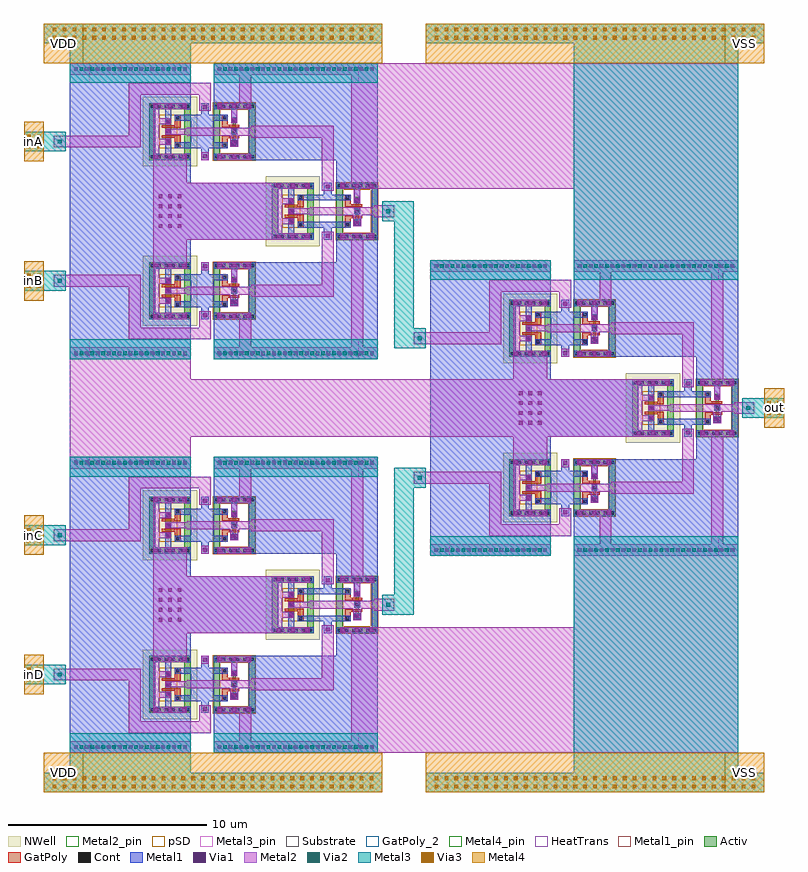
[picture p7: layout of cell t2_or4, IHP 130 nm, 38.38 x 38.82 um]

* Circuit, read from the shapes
.subckt t2_or4 VDD VSS inA inB inC inD out
XM1 n1 inD t2_or2_2/t2_nand2_0/inB VSS sg13_lv_nmos w=0.15u l=0.13u
XM2 VSS inD n1 VSS sg13_lv_nmos w=0.15u l=0.13u
XM3 n2 inC t2_or2_2/t2_nand2_0/inA VSS sg13_lv_nmos w=0.15u l=0.13u
XM4 VSS inC n2 VSS sg13_lv_nmos w=0.15u l=0.13u
XM5 n3 inB t2_or2_0/t2_nand2_0/inB VSS sg13_lv_nmos w=0.15u l=0.13u
XM6 VSS inB n3 VSS sg13_lv_nmos w=0.15u l=0.13u
XM7 n4 inA t2_or2_0/t2_nand2_0/inA VSS sg13_lv_nmos w=0.15u l=0.13u
XM8 VSS inA n4 VSS sg13_lv_nmos w=0.15u l=0.13u
XM9 n5 t2_or2_2/t2_nand2_0/inB t2_or2_1/inB VSS sg13_lv_nmos w=0.15u l=0.13u
XM10 VSS t2_or2_2/t2_nand2_0/inA n5 VSS sg13_lv_nmos w=0.15u l=0.13u
XM11 n6 t2_or2_0/t2_nand2_0/inB t2_or2_1/inA VSS sg13_lv_nmos w=0.15u l=0.13u
XM12 VSS t2_or2_0/t2_nand2_0/inA n6 VSS sg13_lv_nmos w=0.15u l=0.13u
XM13 n7 t2_or2_1/inB t2_or2_1/t2_nand2_0/inB VSS sg13_lv_nmos w=0.15u l=0.13u
XM14 VSS t2_or2_1/inB n7 VSS sg13_lv_nmos w=0.15u l=0.13u
XM15 n8 t2_or2_1/inA t2_or2_1/t2_nand2_0/inA VSS sg13_lv_nmos w=0.15u l=0.13u
XM16 VSS t2_or2_1/inA n8 VSS sg13_lv_nmos w=0.15u l=0.13u
XM17 n9 t2_or2_1/t2_nand2_0/inB out VSS sg13_lv_nmos w=0.15u l=0.13u
XM18 VSS t2_or2_1/t2_nand2_0/inA n9 VSS sg13_lv_nmos w=0.15u l=0.13u
XM19 t2_or2_2/t2_nand2_0/inB inD VDD VDD sg13_lv_pmos w=0.3u l=0.13u m=2
XM20 t2_or2_2/t2_nand2_0/inA inC VDD VDD sg13_lv_pmos w=0.3u l=0.13u m=2
XM21 t2_or2_0/t2_nand2_0/inB inB VDD VDD sg13_lv_pmos w=0.3u l=0.13u m=2
XM22 t2_or2_0/t2_nand2_0/inA inA VDD VDD sg13_lv_pmos w=0.3u l=0.13u m=2
XM23 t2_or2_1/inB t2_or2_2/t2_nand2_0/inB VDD VDD sg13_lv_pmos w=0.3u l=0.13u
XM24 VDD t2_or2_2/t2_nand2_0/inA t2_or2_1/inB VDD sg13_lv_pmos w=0.3u l=0.13u
XM25 t2_or2_1/inA t2_or2_0/t2_nand2_0/inB VDD VDD sg13_lv_pmos w=0.3u l=0.13u
XM26 VDD t2_or2_0/t2_nand2_0/inA t2_or2_1/inA VDD sg13_lv_pmos w=0.3u l=0.13u
XM27 t2_or2_1/t2_nand2_0/inB t2_or2_1/inB VDD VDD sg13_lv_pmos w=0.3u l=0.13u m=2
XM28 t2_or2_1/t2_nand2_0/inA t2_or2_1/inA VDD VDD sg13_lv_pmos w=0.3u l=0.13u m=2
XM29 out t2_or2_1/t2_nand2_0/inB VDD VDD sg13_lv_pmos w=0.3u l=0.13u
XM30 VDD t2_or2_1/t2_nand2_0/inA out VDD sg13_lv_pmos w=0.3u l=0.13u
.ends

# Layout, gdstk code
from math import pi, radians
import gdstk
lib = gdstk.Library(unit=1e-6, precision=1e-09)
def R(c, l, rs):  # rectangles x0, y0, x1, y1
    for r in rs: c.add(gdstk.rectangle(r[:2], r[2:], *l))
def A(c, l, x, y, w, h, nx, ny, dx, dy):  # array of equal rectangles
    R(c, l, [(x+i*dx, y+j*dy, x+i*dx+w, y+j*dy+h) for i in range(nx) for j in range(ny)])
Activ = (1, 0)
GatPoly = (5, 0)
GatPoly_2 = (5, 2)
Cont = (6, 0)
Metal1 = (8, 0)
Metal1_pin = (8, 2)
Metal2 = (10, 0)
Metal2_pin = (10, 2)
pSD = (14, 0)
Via1 = (19, 0)
Via2 = (29, 0)
Metal3 = (30, 0)
Metal3_pin = (30, 2)
NWell = (31, 0)
Substrate = (40, 0)
Via3 = (49, 0)
Metal4 = (50, 0)
Metal4_pin = (50, 2)
HeatTrans = (51, 0)

pmos_4 = lib.new_cell('pmos$4')
R(pmos_4, Activ, [(0,0,0.3,0.3), (0,0,0.81,0.3), (0.51,0,0.81,0.3)])
R(pmos_4, GatPoly, [(0.34,-0.18,0.47,0.48), (0.34,-0.18,0.47,0.48)])
R(pmos_4, Cont, [(0.07,0.07,0.23,0.23), (0.58,0.07,0.74,0.23)])
R(pmos_4, Metal1, [(0.07,0,0.23,0.3), (0.07,0,0.23,0.3), (0.58,0,0.74,0.3), (0.58,0,0.74,0.3)])
R(pmos_4, pSD, [(-0.18,-0.3,0.99,0.6)])
R(pmos_4, NWell, [(-0.31,-0.31,1.12,0.61)])
R(pmos_4, Substrate, [(0.51,0,0.81,0.3)])
R(pmos_4, HeatTrans, [(0.34,-0.18,0.47,0.48)])
pmos_4.add(gdstk.Label('pmos', (0.405,0.15), layer=63, texttype=0))
pmos_4.add(gdstk.Label('pmos', (0.405,0.15), layer=51, texttype=0))

nmos_4 = lib.new_cell('nmos$4')
R(nmos_4, Activ, [(0,0,0.3,0.3), (0.57,0,0.87,0.3), (0,0.075,0.87,0.225)])
R(nmos_4, GatPoly, [(0.37,-0.105,0.5,0.405)])
R(nmos_4, GatPoly_2, [(0.37,-0.105,0.5,0.405)])
R(nmos_4, Cont, [(0.07,0.07,0.23,0.23), (0.64,0.07,0.8,0.23)])
R(nmos_4, Metal1, [(0.07,0.02,0.23,0.28), (0.64,0.02,0.8,0.28)])
R(nmos_4, Metal1_pin, [(0.07,0.02,0.23,0.28), (0.64,0.02,0.8,0.28)])
R(nmos_4, HeatTrans, [(0.37,-0.105,0.5,0.405)])
nmos_4.add(gdstk.Label('nmos', (0.435,0.15), layer=63, texttype=0))
nmos_4.add(gdstk.Label('nmos', (0.435,0.15), layer=51, texttype=0))

t2_nand2 = lib.new_cell('t2_nand2')
R(t2_nand2, Activ, [(-6.22,-2.335,-3.66,-2.015), (-3.66,-2.335,-3.34,-0.555), (-6.22,-2.015,-5.9,-0.235), (-5.9,-0.555,-3.34,-0.235), (-6.22,0.915,-3.66,1.235), (-3.66,0.915,-3.34,2.695), (-6.22,1.235,-5.9,3.015), (-5.9,2.695,-3.34,3.015)])
R(t2_nand2, GatPoly, [(-5.13,-1.03,-5,-0.955), (-4.56,-1.03,-4.43,-0.955), (-5.62,-0.955,-5,-0.655), (-4.56,-0.955,-3.94,-0.655), (-5.62,1.415,-4.97,1.715), (-4.59,1.415,-3.94,1.715)])
A(t2_nand2, Cont, -3.58, -2.255, 0.16, 0.16, 1, 5, 0, 0.355)
A(t2_nand2, Cont, -6.14, -1.895, 0.16, 0.16, 1, 5, 0, 0.355)
A(t2_nand2, Cont, -6.14, 1.355, 0.16, 0.16, 1, 5, 0, 0.355)
A(t2_nand2, Cont, -3.58, 1.355, 0.16, 0.16, 1, 5, 0, 0.355)
R(t2_nand2, Cont, [(-6.14,-2.255,-5.98,-2.095), (-5.55,-0.885,-5.39,-0.725), (-4.17,-0.885,-4.01,-0.725), (-3.58,-0.475,-3.42,-0.315), (-6.14,0.995,-5.98,1.155), (-3.58,0.995,-3.42,1.155), (-5.55,1.485,-5.39,1.645), (-4.17,1.485,-4.01,1.645)])
R(t2_nand2, Metal1, [(-6.22,-2.335,-5.9,-0.235), (-5.9,-2.335,-3.66,-2.015), (-3.66,-2.335,-3.34,-0.235), (-5.9,-1.435,-5.205,-1.135), (-4.93,-1.435,-4.63,-1.135), (-4.36,-1.435,-4.06,-1.135), (-5.62,-0.955,-5.32,1.715), (-4.24,-0.955,-3.94,1.715), (-6.22,-0.005,-5.62,0.395), (-3.94,-0.005,-3.34,0.395), (-6.22,0.915,-5.9,3.015), (-3.66,0.915,-3.34,3.015), (-5.9,1.895,-5.145,2.195), (-4.93,1.895,-4.63,2.195), (-4.415,1.895,-3.66,2.195), (-5.9,2.695,-3.66,3.015)])
R(t2_nand2, Metal2, [(-6.22,-2.14,-5.9,-0.425), (-4.98,-2.14,-4.58,1.105), (-3.66,-2.14,-3.34,-0.425), (-4.58,-1.485,-4.01,-1.085), (-5.9,-1.445,-5.19,-1.125), (-6.22,-0.005,-5.82,0.395), (-3.74,-0.005,-3.34,0.395), (-6.22,1.105,-5.9,2.82), (-4.93,1.105,-4.63,2.19), (-3.66,1.105,-3.34,2.82), (-5.44,1.9,-5.14,2.5), (-4.42,1.9,-4.12,2.5), (-5.9,2.5,-3.66,2.82)])
R(t2_nand2, Metal2_pin, [(-5.455,-1.39,-5.245,-1.18), (-4.315,-1.39,-4.105,-1.18), (-6.125,0.09,-5.915,0.3), (-3.645,0.09,-3.435,0.3), (-5.395,1.94,-5.185,2.15), (-4.375,1.94,-4.165,2.15)])
R(t2_nand2, pSD, [(-6.25,-2.365,-3.69,-1.985), (-3.69,-2.365,-3.31,-0.585), (-6.25,-1.985,-5.87,-0.205), (-5.87,-0.585,-3.31,-0.205)])
A(t2_nand2, Via1, -5.385, 1.95, 0.19, 0.19, 3, 1, 0.51, 0)
R(t2_nand2, Via1, [(-6.155,-2.09,-5.965,-1.9), (-3.595,-2.09,-3.405,-1.9), (-5.445,-1.38,-5.255,-1.19), (-4.305,-1.38,-4.115,-1.19), (-3.595,-1.38,-3.405,-1.19), (-6.155,-1.375,-5.965,-1.185), (-6.155,-0.665,-5.965,-0.475), (-3.595,-0.665,-3.405,-0.475), (-6.115,0.1,-5.925,0.29), (-3.635,0.1,-3.445,0.29), (-6.155,1.155,-5.965,1.345), (-3.595,1.155,-3.405,1.345), (-6.155,1.87,-5.965,2.06), (-3.595,1.87,-3.405,2.06), (-6.155,2.58,-5.965,2.77), (-3.595,2.58,-3.405,2.77)])
R(t2_nand2, NWell, [(-6.54,0.595,-3.02,3.335)])
t2_nand2.add(gdstk.Reference(pmos_4, (-5.44,1.895)))
t2_nand2.add(gdstk.Reference(pmos_4, (-4.93,1.895)))
t2_nand2.add(gdstk.Reference(nmos_4, (-5.5,-1.435)))
t2_nand2.add(gdstk.Reference(nmos_4, (-4.93,-1.435)))
t2_nand2.add(gdstk.Label('VDD', (-5.29,2.045), layer=10, texttype=2))
t2_nand2.add(gdstk.Label('VDD', (-4.27,2.045), layer=10, texttype=2))
t2_nand2.add(gdstk.Label('VSS', (-5.35,-1.285), layer=10, texttype=2))
t2_nand2.add(gdstk.Label('out', (-4.21,-1.285), layer=10, texttype=2))
t2_nand2.add(gdstk.Label('inA', (-6.02,0.195), layer=10, texttype=2))
t2_nand2.add(gdstk.Label('inB', (-3.54,0.195), layer=10, texttype=2))

t2_or2 = lib.new_cell('t2_or2')
R(t2_or2, Metal1, [(-5.545,-5.845,0.555,-3.835), (1.705,-5.845,10.005,-3.835), (-5.545,-3.835,-1.545,7.085), (3.805,-3.835,7.905,-0.955), (7.905,-3.835,10.005,0.185), (0.555,-2.935,1.705,-1.855), (-1.545,-0.955,0.555,0.185), (-1.545,0.185,4.655,3.065), (-1.545,3.065,0.555,4.205), (7.905,3.065,10.005,7.085), (3.805,4.205,7.905,7.085), (0.555,5.105,1.705,6.185), (-5.545,7.085,0.555,9.095), (1.705,7.085,10.005,9.095)])
R(t2_or2, Metal2, [(-5.545,-5.845,0.555,-5.255), (1.705,-5.845,10.005,-5.255), (3.01,-5.255,3.61,-3.835), (8.655,-5.255,9.255,0.185), (-2.565,-4.855,-1.965,-1.595), (-1.965,-4.855,0.975,-4.255), (0.975,-4.855,1.575,-3.435), (3.61,-2.695,7.175,-2.095), (7.175,-2.695,7.775,0.585), (-6.365,-2.195,-2.565,-1.595), (-1.35,-0.955,0.365,4.205), (0.365,0.185,4.85,3.065), (9.81,1.325,10.825,1.925), (7.175,2.665,7.775,5.945), (8.655,3.065,9.255,8.505), (-6.365,4.845,-2.565,5.445), (-2.565,4.845,-1.965,8.105), (3.61,5.345,7.175,5.945), (0.975,6.685,1.575,8.105), (3.01,7.085,3.61,8.505), (-1.965,7.505,0.975,8.105), (-5.545,8.505,0.555,9.095), (1.705,8.505,10.005,9.095)])
A(t2_or2, Via1, -5.335, -5.645, 0.19, 0.19, 11, 2, 0.55, 14.35)
A(t2_or2, Via1, 1.915, -5.645, 0.19, 0.19, 15, 2, 0.55, 14.35)
A(t2_or2, Via1, -1.065, 0.78, 0.19, 0.19, 3, 4, 0.48, 0.5)
A(t2_or2, Via2, -5.06, -5.645, 0.19, 0.19, 10, 2, 0.55, 14.35)
A(t2_or2, Via2, 2.19, -5.645, 0.19, 0.19, 14, 2, 0.55, 14.35)
R(t2_or2, Via2, [(-6.16,-1.99,-5.97,-1.8), (10.43,1.53,10.62,1.72), (-6.16,5.05,-5.97,5.24)])
R(t2_or2, Metal3, [(-5.545,-5.845,0.555,-4.855), (1.705,-5.845,10.005,-4.855), (-6.365,-2.395,-5.765,-1.395), (10.225,1.125,10.825,2.125), (-6.365,4.645,-5.765,5.645), (-5.545,8.105,0.555,9.095), (1.705,8.105,10.005,9.095)])
R(t2_or2, Metal3_pin, [(-5.545,-5.845,-4.545,-4.855), (9.005,-5.845,10.005,-4.855), (-6.365,-2.195,-5.765,-1.595), (10.225,1.325,10.825,1.925), (-6.365,4.845,-5.765,5.445), (-5.545,8.105,-4.545,9.095), (9.005,8.105,10.005,9.095)])
t2_or2.add(gdstk.Reference(t2_nand2, (7.67,-3.155), rotation=3*pi/2, x_reflection=True))
t2_or2.add(gdstk.Reference(t2_nand2, (1.47,-7.175), rotation=3*pi/2, x_reflection=True))
t2_or2.add(gdstk.Reference(t2_nand2, (1.47,0.865), rotation=3*pi/2, x_reflection=True))
t2_or2.add(gdstk.Label('inA', (-6.065,5.145), layer=30, texttype=2))
t2_or2.add(gdstk.Label('inB', (-6.065,-1.895), layer=30, texttype=2))
t2_or2.add(gdstk.Label('out', (10.525,1.625), layer=30, texttype=2))
t2_or2.add(gdstk.Label('VSS', (9.505,8.6), layer=30, texttype=2))
t2_or2.add(gdstk.Label('VSS', (9.505,-5.35), layer=30, texttype=2))
t2_or2.add(gdstk.Label('VDD', (-5.045,8.6), layer=30, texttype=2))
t2_or2.add(gdstk.Label('VDD', (-5.045,-5.35), layer=30, texttype=2))

t2_or4 = lib.new_cell('t2_or4')
R(t2_or4, Metal2, [(9.24,-15.145,19.88,-8.795), (19.88,-15.145,28.18,-5.205), (-5.56,-0.205,0.54,4.735), (0.54,0.825,16.825,3.705), (19.88,9.735,28.18,19.675), (9.24,13.325,19.88,19.675)])
R(t2_or4, Metal3, [(-6.88,-17.145,10.21,-16.145), (12.41,-17.145,29.5,-16.145), (-5.56,-16.145,0.54,-15.145), (19.88,-16.145,28.18,-5.205), (-7.88,-11.695,-6.38,-10.695), (10.81,-8.175,11.81,-0.755), (-7.88,-4.655,-6.38,-3.655), (29,1.765,30.5,2.765), (10.81,5.285,11.81,12.705), (-7.88,8.185,-6.38,9.185), (19.88,9.735,28.18,20.675), (-7.88,15.225,-6.38,16.225), (-5.56,19.675,0.54,20.675), (-6.88,20.675,10.21,21.675), (12.41,20.675,29.5,21.675)])
A(t2_or4, Via3, -6.43, -16.95, 0.19, 0.19, 33, 2, 0.5, 0.42)
A(t2_or4, Via3, 12.86, -16.95, 0.19, 0.19, 33, 2, 0.5, 0.42)
A(t2_or4, Via3, -6.43, 20.87, 0.19, 0.19, 33, 2, 0.5, 0.42)
A(t2_or4, Via3, 12.86, 20.87, 0.19, 0.19, 33, 2, 0.5, 0.42)
R(t2_or4, Via3, [(-7.73,-11.545,-7.54,-11.355), (-7.22,-11.545,-7.03,-11.355), (-7.73,-11.035,-7.54,-10.845), (-7.22,-11.035,-7.03,-10.845), (-7.73,-4.505,-7.54,-4.315), (-7.22,-4.505,-7.03,-4.315), (-7.73,-3.995,-7.54,-3.805), (-7.22,-3.995,-7.03,-3.805), (29.65,1.915,29.84,2.105), (30.16,1.915,30.35,2.105), (29.65,2.425,29.84,2.615), (30.16,2.425,30.35,2.615), (-7.73,8.335,-7.54,8.525), (-7.22,8.335,-7.03,8.525), (-7.73,8.845,-7.54,9.035), (-7.22,8.845,-7.03,9.035), (-7.73,15.375,-7.54,15.565), (-7.22,15.375,-7.03,15.565), (-7.73,15.885,-7.54,16.075), (-7.22,15.885,-7.03,16.075)])
R(t2_or4, Metal4, [(-6.88,-17.145,10.21,-15.145), (12.41,-17.145,29.5,-15.145), (-7.88,-12.195,-6.88,-10.195), (-7.88,-5.155,-6.88,-3.155), (29.5,1.265,30.5,3.265), (-7.88,7.685,-6.88,9.685), (-7.88,14.725,-6.88,16.725), (-6.88,19.675,10.21,21.675), (12.41,19.675,29.5,21.675)])
R(t2_or4, Metal4_pin, [(-6.88,-17.145,-4.88,-15.145), (27.5,-17.145,29.5,-15.145), (-7.88,-12.195,-6.88,-10.195), (-7.88,-5.155,-6.88,-3.155), (29.5,1.265,30.5,3.265), (-7.88,7.685,-6.88,9.685), (-7.88,14.725,-6.88,16.725), (-6.88,19.675,-4.88,21.675), (27.5,19.675,29.5,21.675)])
t2_or4.add(gdstk.Reference(t2_or2, (-0.015,10.58)))
t2_or4.add(gdstk.Reference(t2_or2, (18.175,0.64)))
t2_or4.add(gdstk.Reference(t2_or2, (-0.015,-9.3)))
t2_or4.add(gdstk.Label('inA', (-7.38,15.725), layer=50, texttype=2))
t2_or4.add(gdstk.Label('out', (30,2.265), layer=50, texttype=2))
t2_or4.add(gdstk.Label('inB', (-7.38,8.685), layer=50, texttype=2))
t2_or4.add(gdstk.Label('inC', (-7.38,-4.155), layer=50, texttype=2))
t2_or4.add(gdstk.Label('inD', (-7.38,-11.195), layer=50, texttype=2))
t2_or4.add(gdstk.Label('VSS', (28.5,-16.145), layer=50, texttype=2))
t2_or4.add(gdstk.Label('VDD', (-5.88,20.675), layer=50, texttype=2))
t2_or4.add(gdstk.Label('VDD', (-5.88,-16.145), layer=50, texttype=2))
t2_or4.add(gdstk.Label('VSS', (28.5,20.675), layer=50, texttype=2))

lib.write_gds('t2_or4.gds')
